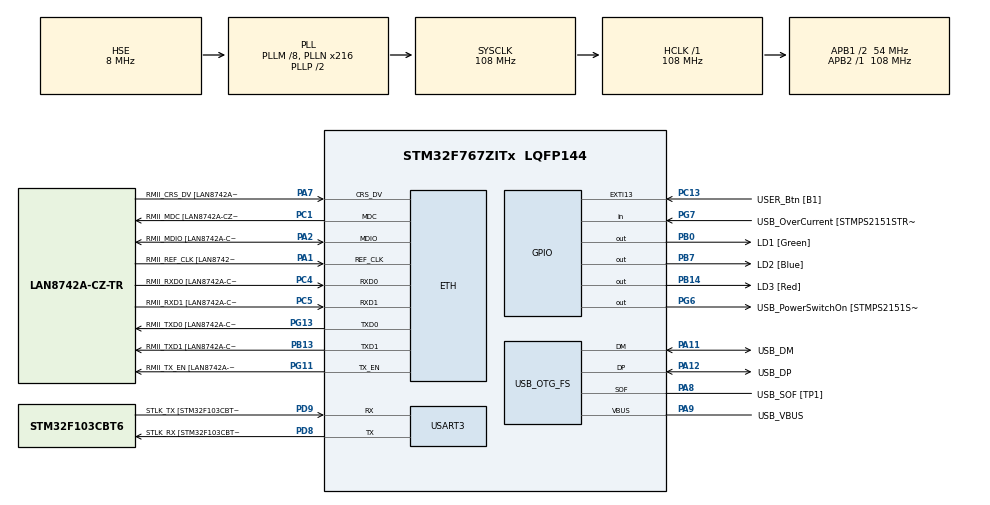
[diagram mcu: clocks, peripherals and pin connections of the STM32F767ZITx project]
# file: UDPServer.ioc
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ETH.MediaInterface=HAL_ETH_RMII_MODE
ETH.PHY_Name=LAN8742A_PHY_ADDRESS
ETH.PHY_Value=0
ETH.PhyAddress=0
LWIP.BSP.number=1
LWIP.GATEWAY_ADDRESS=010.102.002.254
LWIP.IP_ADDRESS=010.102.002.086
LWIP.LWIP_DHCP=0
LWIP.NETMASK_ADDRESS=255.255.255.000
LWIP.Version=v2.1.2_Cube
LWIP0.BSP.STBoard=false
LWIP0.BSP.api=BSP_COMPONENT_DRIVER
LWIP0.BSP.component=LAN8742
LWIP0.BSP.instance=LAN8742
LWIP0.BSP.name=Driver_PHY
LWIP0.BSP.semaphore=S_LAN8742
LWIP0.BSP.solution=LAN8742
Mcu.Family=STM32F7
Mcu.Name=STM32F767ZITx
Mcu.Package=LQFP144
NVIC.PriorityGroup=NVIC_PRIORITYGROUP_4
PA1.GPIO_Label=RMII_REF_CLK [LAN8742A-CZ-TR_REFCLK0]
PA1.Mode=RMII
PA1.Signal=ETH_REF_CLK
PA10.GPIO_Label=USB_ID
PA10.Signal=USB_OTG_FS_ID
PA11.GPIO_Label=USB_DM
PA11.Mode=Device_Only
PA11.Signal=USB_OTG_FS_DM
PA12.GPIO_Label=USB_DP
PA12.Mode=Device_Only
PA12.Signal=USB_OTG_FS_DP
PA13.GPIO_Label=TMS
PA13.Mode=Serial_Wire
PA13.Signal=SYS_JTMS-SWDIO
PA14.GPIO_Label=TCK
PA14.Mode=Serial_Wire
PA14.Signal=SYS_JTCK-SWCLK
PA2.GPIO_Label=RMII_MDIO [LAN8742A-CZ-TR_MDIO]
PA2.Mode=RMII
PA2.Signal=ETH_MDIO
PA7.GPIO_Label=RMII_CRS_DV [LAN8742A-CZ-TR_CRS_DV]
PA7.Mode=RMII
PA7.Signal=ETH_CRS_DV
PA8.GPIO_Label=USB_SOF [TP1]
PA8.Mode=Activate_SOF_FS
PA8.Signal=USB_OTG_FS_SOF
PA9.GPIO_Label=USB_VBUS
PA9.Mode=Activate_VBUS
PA9.Signal=USB_OTG_FS_VBUS
PB0.GPIO_Label=LD1 [Green]
PB0.Signal=GPIO_Output
PB13.GPIO_Label=RMII_TXD1 [LAN8742A-CZ-TR_TXD1]
PB13.Mode=RMII
PB13.Signal=ETH_TXD1
PB14.GPIO_Label=LD3 [Red]
PB14.Signal=GPIO_Output
PB3.GPIO_Label=SWO
PB3.Signal=SYS_JTDO-SWO
PB7.GPIO_Label=LD2 [Blue]
PB7.Signal=GPIO_Output
PC1.GPIO_Label=RMII_MDC [LAN8742A-CZ-TR_MDC]
PC1.Mode=RMII
PC1.Signal=ETH_MDC
PC13.GPIO_Label=USER_Btn [B1]
PC13.Signal=GPXTI13
PC14/OSC32_IN.Mode=LSE-External-Oscillator
PC14/OSC32_IN.Signal=RCC_OSC32_IN
PC15/OSC32_OUT.Mode=LSE-External-Oscillator
PC15/OSC32_OUT.Signal=RCC_OSC32_OUT
PC4.GPIO_Label=RMII_RXD0 [LAN8742A-CZ-TR_RXD0]
PC4.Mode=RMII
PC4.Signal=ETH_RXD0
PC5.GPIO_Label=RMII_RXD1 [LAN8742A-CZ-TR_RXD1]
PC5.Mode=RMII
PC5.Signal=ETH_RXD1
PD8.GPIO_Label=STLK_RX [STM32F103CBT6_PA3]
PD8.Mode=Asynchronous
PD8.Signal=USART3_TX
PD9.GPIO_Label=STLK_TX [STM32F103CBT6_PA2]
PD9.Mode=Asynchronous
PD9.Signal=USART3_RX
PG11.GPIO_Label=RMII_TX_EN [LAN8742A-CZ-TR_TXEN]
PG11.Mode=RMII
PG11.Signal=ETH_TX_EN
PG13.GPIO_Label=RMII_TXD0 [LAN8742A-CZ-TR_TXD0]
PG13.Mode=RMII
PG13.Signal=ETH_TXD0
PG6.GPIO_Label=USB_PowerSwitchOn [STMPS2151STR_EN]
PG6.Signal=GPIO_Output
PG7.GPIO_Label=USB_OverCurrent [STMPS2151STR_FAULT]
PG7.Signal=GPIO_Input
PH0/OSC_IN.GPIO_Label=MCO [STM32F103CBT6_PA8]
PH0/OSC_IN.Mode=HSE-External-Clock-Source
PH0/OSC_IN.Signal=RCC_OSC_IN
PH1/OSC_OUT.Mode=HSE-External-Clock-Source
PH1/OSC_OUT.Signal=RCC_OSC_OUT
ProjectManager.HeapSize=0x200
ProjectManager.StackSize=0x400
ProjectManager.TargetToolchain=STM32CubeIDE
RCC.48MHZClocksFreq_Value=24000000
RCC.AHBFreq_Value=108000000
RCC.APB1CLKDivider=RCC_HCLK_DIV2
RCC.APB1Freq_Value=54000000
RCC.APB1TimFreq_Value=108000000
RCC.APB2Freq_Value=108000000
RCC.APB2TimFreq_Value=108000000
RCC.CortexFreq_Value=108000000
RCC.HCLKFreq_Value=108000000
RCC.HSE_VALUE=8000000
RCC.HSI_VALUE=16000000
RCC.PLL48CLockSelection=RCC_CLK48SOURCE_PLLSAIP
RCC.PLLM=8
RCC.PLLMUL=RCC_PLL_MUL9
RCC.PLLN=216
RCC.PLLQ=4
RCC.PLLSAIP=RCC_PLLSAIP_DIV4
RCC.PRESCALERUSB=RCC_USBCLKSOURCE_PLL_DIV1_5
RCC.SYSCLKFreq_VALUE=108000000
RCC.SYSCLKSource=RCC_SYSCLKSOURCE_PLLCLK
RCC.SYSCLKSourceVirtual=RCC_SYSCLKSOURCE_PLLCLK
RCC.USBFreq_Value=48000000
RCC.VCOOutputFreq_Value=216000000
USART3.VirtualMode-Asynchronous=VM_ASYNC
USB_OTG_FS.VirtualMode=Device_Only
VP_LWIP_VS_Enabled.Mode=Enabled
board=NUCLEO-F767ZI

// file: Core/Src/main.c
/* USER CODE BEGIN Header */
/**
 ******************************************************************************
 * @file           : main.c
 * @brief          : Main program body
 ******************************************************************************
 * @attention
 *
 * Copyright (c) 2024 STMicroelectronics.
 * All rights reserved.
 *
 * This software is licensed under terms that can be found in the LICENSE file
 * in the root directory of this software component.
 * If no LICENSE file comes with this software, it is provided AS-IS.
 *
 ******************************************************************************
 */
/* USER CODE END Header */
#include "main.h"
#include "lwip.h"

/* USER CODE BEGIN Includes */
#include <string.h>

#include <ip_addr.h>
#include <udp_handler.h>
/* USER CODE END Includes */

/* USER CODE BEGIN PD */
#define LEDS_COUNT 3
#define BUFFER_ARRAY_SIZE 32
/* USER CODE END PD */

UART_HandleTypeDef huart3;

PCD_HandleTypeDef hpcd_USB_OTG_FS;

/* USER CODE BEGIN PV */
extern struct netif gnetif;
/* USER CODE END PV */

void SystemClock_Config(void);
static void MX_GPIO_Init(void);
static void MX_USART3_UART_Init(void);
static void MX_USB_OTG_FS_PCD_Init(void);
/* USER CODE BEGIN PFP */
//void udp_echo_recv(void *arg, struct udp_pcb *pcb, struct pbuf *p, struct ip_addr *addr, u16_t port);
/* USER CODE END PFP */

/* USER CODE BEGIN 0 */

struct GPIO_Attr {
	GPIO_TypeDef *gpio;
	uint16_t pin;
};

//typedef struct {
//	char *response;
//	char *command;
//	char *data;
//} request_struct_sm;
//size_t serialize(const request_struct_sm *arch_sm, char *buf) {
//	size_t bytes = 0;
//	memcpy(buf + bytes, arch_sm->response, strlen(arch_sm->response) + 1);
//	bytes += strlen(arch_sm->response) + 1;
//	memcpy(buf + bytes, arch_sm->command, strlen(arch_sm->command) + 1);
//	bytes += strlen(arch_sm->command) + 1;
//	memcpy(buf + bytes, arch_sm->data, strlen(arch_sm->data) + 1);
//	bytes += strlen(arch_sm->data) + 1;
//	return bytes;
//}
//
//void deserialize(const char *buf, request_struct_sm *arch_sm) {
//	size_t offset = 0;
//	arch_sm->response = strdup(buf + offset);
//	offset += strlen(buf + offset) + 1;
//	arch_sm->command = strdup(buf + offset);
//	offset += strlen(buf + offset) + 1;
//	arch_sm->data = strdup(buf + offset);
//}

err_t udp_send_message(struct udp_pcb *upcb, const ip_addr_t *addr, u16_t port, const char *dataSource) {
	// если сокет не создался, то на выход с ошибкой
	if (upcb == NULL) {
		return ERR_ABRT;
	}
	u16_t dataLength = strlen(dataSource);
	// аллоцируем память под буфер с данными
	struct pbuf *p = pbuf_alloc(PBUF_TRANSPORT, dataLength, PBUF_RAM);
	if (p != NULL) {
		// кладём данные в аллоцированный буфер
		err_t err = pbuf_take(p, dataSource, dataLength);
		//очистить память от сообщения
		//free(data);
		if (ERR_OK != err) {
			// обязательно должны очистить аллоцированную память при ошибке
			pbuf_free(p);
			return err;
		}
		// отсылаем пакет
		err = udp_sendto(upcb, p, addr, port);
		if (ERR_OK != err) {
			// обязательно должны очистить аллоцированную память при ошибке
			pbuf_free(p);
			return err;
		}
		// очищаем аллоцированную память
		pbuf_free(p);
	}
	return ERR_OK;
}

void get_ifconfig(char *answer) {
	char local_ip[BUFFER_ARRAY_SIZE];
	char subnet_mask[BUFFER_ARRAY_SIZE];
	char gateway[BUFFER_ARRAY_SIZE];

	ip4addr_ntoa_r(netif_ip4_addr(&gnetif), local_ip, BUFFER_ARRAY_SIZE);
	ip4addr_ntoa_r(netif_ip4_netmask(&gnetif), subnet_mask, BUFFER_ARRAY_SIZE);
	ip4addr_ntoa_r(netif_ip4_gw(&gnetif), gateway, BUFFER_ARRAY_SIZE);
	sprintf(answer, "\n%s %s\n%s %s\n%s %s", "ip address: ", local_ip, "subnet mask:", subnet_mask, "gateway:    ",
			gateway);
}

void sed_leds(char *answer, char *received_message) {
	char led_answer[BUFFER_ARRAY_SIZE] = "leds { ";
	char led[LEDS_COUNT];
	struct GPIO_Attr gpio_outputs[] = { { GPIOB, GPIO_PIN_0 }, { GPIOB,
	GPIO_PIN_7 }, { GPIOB, GPIO_PIN_14 } };
	for (uint16_t i = 0; i < sizeof(gpio_outputs) / sizeof(gpio_outputs[0]); i++) {
		uint16_t led_command = received_message[i] - '0';
		if (led_command != 2 && led_command != HAL_GPIO_ReadPin(gpio_outputs[i].gpio, gpio_outputs[i].pin)) {
			HAL_GPIO_WritePin(gpio_outputs[i].gpio, gpio_outputs[i].pin, led_command);
			sprintf(led, "%d ", i + 1);
			strcat(led_answer, led);
		}
	}
	strcat(led_answer, "} switched");
	strcpy(answer, led_answer);
}

void udp_receive_message(void *arg, struct udp_pcb *pcb, struct pbuf *p, const ip_addr_t *addr, u16_t port) {
	if (p != NULL) {
		/* send received packet back to sender */
		char received_message[BUFFER_ARRAY_SIZE];
		strncpy(received_message, p->payload, p->len);
		received_message[p->len] = '\0';
		pbuf_free(p);

		char answer[1024];
		if (strcmp(received_message, "echo") == 0) {
			strcpy(answer, received_message);
		} else if (strcmp(received_message, "ifconfig") == 0) {
			get_ifconfig(answer);
		} else if (strncmp(received_message + LEDS_COUNT, "leds", 4) == 0) {
			sed_leds(answer, received_message);
		} else {
			strcpy(answer, "Unknown command");
		}
		udp_send_message(pcb, addr, port, answer);
	}
}

void udp_create_socket(void) {
	struct udp_pcb *pcb;

	/* get new pcb */
	pcb = udp_new();
	if (pcb == NULL) {
		LWIP_DEBUGF(UDP_DEBUG, ("udp_new failed!\n"));
		return;
	}

	/* bind to any IP address on port 3333 */
	if (udp_bind(pcb, IP_ADDR_ANY, 3333) != ERR_OK) {
		LWIP_DEBUGF(UDP_DEBUG, ("udp_bind failed!\n"));
		return;
	}

	/* set udp_echo_recv() as callback function
	 for received packets */
	udp_recv(pcb, udp_receive_message, NULL);
}

/* USER CODE END 0 */

int main(void) {

	/* MCU Configuration--------------------------------------------------------*/

	/* Reset of all peripherals, Initializes the Flash interface and the Systick. */
	HAL_Init();

	/* Configure the system clock */
	SystemClock_Config();

	/* Initialize all configured peripherals */
	MX_GPIO_Init();
	MX_USART3_UART_Init();
	MX_USB_OTG_FS_PCD_Init();
	MX_LWIP_Init();
	/* USER CODE BEGIN 2 */
	udp_create_socket();
	/* USER CODE END 2 */

	/* Infinite loop */
	while (1) {
		MX_LWIP_Process();
	}
}

void SystemClock_Config(void) {
	RCC_OscInitTypeDef RCC_OscInitStruct = { 0 };
	RCC_ClkInitTypeDef RCC_ClkInitStruct = { 0 };

	/** Configure LSE Drive Capability
	 */
	HAL_PWR_EnableBkUpAccess();

	/** Configure the main internal regulator output voltage
	 */
	__HAL_RCC_PWR_CLK_ENABLE();
	__HAL_PWR_VOLTAGESCALING_CONFIG(PWR_REGULATOR_VOLTAGE_SCALE3);

	/** Initializes the RCC Oscillators according to the specified parameters
	 * in the RCC_OscInitTypeDef structure.
	 */
	RCC_OscInitStruct.OscillatorType = RCC_OSCILLATORTYPE_HSE;
	RCC_OscInitStruct.HSEState = RCC_HSE_BYPASS;
	RCC_OscInitStruct.PLL.PLLState = RCC_PLL_ON;
	RCC_OscInitStruct.PLL.PLLSource = RCC_PLLSOURCE_HSE;
	RCC_OscInitStruct.PLL.PLLM = 8;
	RCC_OscInitStruct.PLL.PLLN = 216;
	RCC_OscInitStruct.PLL.PLLP = RCC_PLLP_DIV2;
	RCC_OscInitStruct.PLL.PLLQ = 4;
	RCC_OscInitStruct.PLL.PLLR = 2;
	if (HAL_RCC_OscConfig(&RCC_OscInitStruct) != HAL_OK) {
		Error_Handler();
	}

	/** Activate the Over-Drive mode
	 */
	if (HAL_PWREx_EnableOverDrive() != HAL_OK) {
		Error_Handler();
	}

	/** Initializes the CPU, AHB and APB buses clocks
	 */
	RCC_ClkInitStruct.ClockType = RCC_CLOCKTYPE_HCLK | RCC_CLOCKTYPE_SYSCLK | RCC_CLOCKTYPE_PCLK1 | RCC_CLOCKTYPE_PCLK2;
	RCC_ClkInitStruct.SYSCLKSource = RCC_SYSCLKSOURCE_PLLCLK;
	RCC_ClkInitStruct.AHBCLKDivider = RCC_SYSCLK_DIV1;
	RCC_ClkInitStruct.APB1CLKDivider = RCC_HCLK_DIV2;
	RCC_ClkInitStruct.APB2CLKDivider = RCC_HCLK_DIV1;

	if (HAL_RCC_ClockConfig(&RCC_ClkInitStruct, FLASH_LATENCY_3) != HAL_OK) {
		Error_Handler();
	}
}

static void MX_USART3_UART_Init(void) {

	huart3.Instance = USART3;
	huart3.Init.BaudRate = 115200;
	huart3.Init.WordLength = UART_WORDLENGTH_8B;
	huart3.Init.StopBits = UART_STOPBITS_1;
	huart3.Init.Parity = UART_PARITY_NONE;
	huart3.Init.Mode = UART_MODE_TX_RX;
	huart3.Init.HwFlowCtl = UART_HWCONTROL_NONE;
	huart3.Init.OverSampling = UART_OVERSAMPLING_16;
	huart3.Init.OneBitSampling = UART_ONE_BIT_SAMPLE_DISABLE;
	huart3.AdvancedInit.AdvFeatureInit = UART_ADVFEATURE_NO_INIT;
	if (HAL_UART_Init(&huart3) != HAL_OK) {
		Error_Handler();
	}

}

static void MX_USB_OTG_FS_PCD_Init(void) {

	hpcd_USB_OTG_FS.Instance = USB_OTG_FS;
	hpcd_USB_OTG_FS.Init.dev_endpoints = 6;
	hpcd_USB_OTG_FS.Init.speed = PCD_SPEED_FULL;
	hpcd_USB_OTG_FS.Init.dma_enable = DISABLE;
	hpcd_USB_OTG_FS.Init.phy_itface = PCD_PHY_EMBEDDED;
	hpcd_USB_OTG_FS.Init.Sof_enable = ENABLE;
	hpcd_USB_OTG_FS.Init.low_power_enable = DISABLE;
	hpcd_USB_OTG_FS.Init.lpm_enable = DISABLE;
	hpcd_USB_OTG_FS.Init.vbus_sensing_enable = ENABLE;
	hpcd_USB_OTG_FS.Init.use_dedicated_ep1 = DISABLE;
	if (HAL_PCD_Init(&hpcd_USB_OTG_FS) != HAL_OK) {
		Error_Handler();
	}

}

static void MX_GPIO_Init(void) {
	GPIO_InitTypeDef GPIO_InitStruct = { 0 };

	/* GPIO Ports Clock Enable */
	__HAL_RCC_GPIOC_CLK_ENABLE();
	__HAL_RCC_GPIOH_CLK_ENABLE();
	__HAL_RCC_GPIOA_CLK_ENABLE();
	__HAL_RCC_GPIOB_CLK_ENABLE();
	__HAL_RCC_GPIOD_CLK_ENABLE();
	__HAL_RCC_GPIOG_CLK_ENABLE();

	/*Configure GPIO pin Output Level */
	HAL_GPIO_WritePin(GPIOB, LD1_Pin | LD3_Pin | LD2_Pin, GPIO_PIN_RESET);

	/*Configure GPIO pin Output Level */
	HAL_GPIO_WritePin(USB_PowerSwitchOn_GPIO_Port, USB_PowerSwitchOn_Pin, GPIO_PIN_RESET);

	/*Configure GPIO pin : USER_Btn_Pin */
	GPIO_InitStruct.Pin = USER_Btn_Pin;
	GPIO_InitStruct.Mode = GPIO_MODE_IT_RISING;
	GPIO_InitStruct.Pull = GPIO_NOPULL;
	HAL_GPIO_Init(USER_Btn_GPIO_Port, &GPIO_InitStruct);

	/*Configure GPIO pins : LD1_Pin LD3_Pin LD2_Pin */
	GPIO_InitStruct.Pin = LD1_Pin | LD3_Pin | LD2_Pin;
	GPIO_InitStruct.Mode = GPIO_MODE_OUTPUT_PP;
	GPIO_InitStruct.Pull = GPIO_NOPULL;
	GPIO_InitStruct.Speed = GPIO_SPEED_FREQ_LOW;
	HAL_GPIO_Init(GPIOB, &GPIO_InitStruct);

	/*Configure GPIO pin : USB_PowerSwitchOn_Pin */
	GPIO_InitStruct.Pin = USB_PowerSwitchOn_Pin;
	GPIO_InitStruct.Mode = GPIO_MODE_OUTPUT_PP;
	GPIO_InitStruct.Pull = GPIO_NOPULL;
	GPIO_InitStruct.Speed = GPIO_SPEED_FREQ_LOW;
	HAL_GPIO_Init(USB_PowerSwitchOn_GPIO_Port, &GPIO_InitStruct);

	/*Configure GPIO pin : USB_OverCurrent_Pin */
	GPIO_InitStruct.Pin = USB_OverCurrent_Pin;
	GPIO_InitStruct.Mode = GPIO_MODE_INPUT;
	GPIO_InitStruct.Pull = GPIO_NOPULL;
	HAL_GPIO_Init(USB_OverCurrent_GPIO_Port, &GPIO_InitStruct);

}

void Error_Handler(void) {
	__disable_irq();
	while (1) {
	}
}
